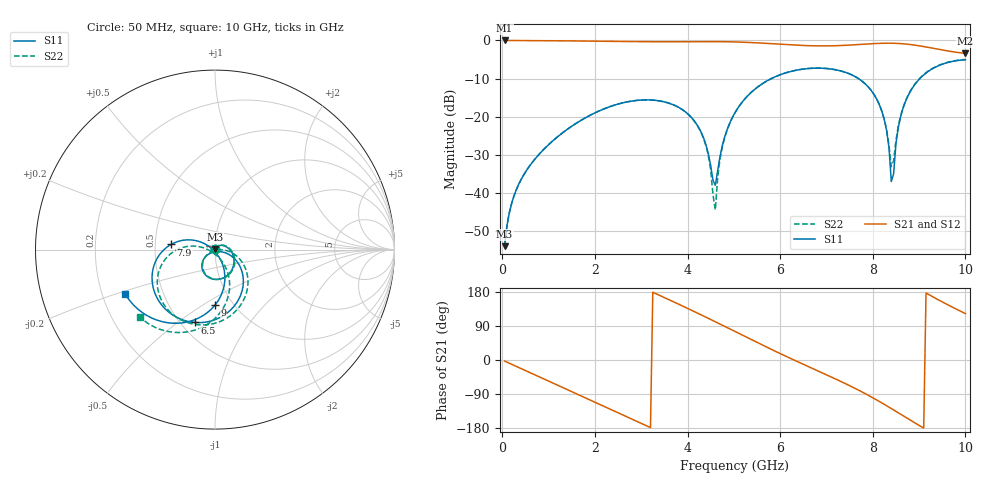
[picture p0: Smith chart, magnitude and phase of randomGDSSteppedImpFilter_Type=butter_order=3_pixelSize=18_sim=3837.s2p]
! freq	dB(S11)	phase(S11)	dB(S12)	phase(S12)
!  dB(S21)	phase(S21)	dB(S22)	phase(S22)
!S-par simulation data
#  GHz  S  DB  R 50
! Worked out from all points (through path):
!   200 points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, 50 MHz to 10 GHz, reference 50 ohm
!   highest |S21| = 0.00 dB at 50 MHz (marker M1); lowest = -3.4 dB at 10 GHz (marker M2)
!   group delay of S21, straight-line fit = 164 ps
!   lowest |S11| = -53.8 dB at 50 MHz (marker M3), VSWR 1.00, Z = 50.1 + j0.194 ohm
!   |S11| at or under -10 dB: start of sweep to 5.808 GHz; 7.691 GHz to 9.016 GHz (1.325 GHz wide, 15.9 % of centre)
!   |S22| runs from -53.9 to -5.0 dB; largest |S21 - S12| = 0
!   S11 on the Smith chart (normalised r, x): 50 MHz: 1.00, +0.00; 6.5 GHz: 0.58, -0.58; 7.9 GHz: 0.61, +0.04; 9 GHz: 0.83, -0.56; 10 GHz: 0.30, -0.21
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0.05  -53.84 72.9  -0.00 -2.8  -0.00 -2.8  -53.85 73.0
0.2  -42.74 74.2  -0.02 -11.2  -0.02 -11.2  -42.73 75.0
0.5  -34.45 60.2  -0.04 -27.8  -0.04 -27.8  -34.45 62.0
1.15  -25.67 24.8  -0.09 -64.0  -0.09 -64.0  -25.65 28.0
1.75  -20.57 -8.5  -0.15 -97.4  -0.15 -97.4  -20.54 -4.8
2.65  -16.21 -58.6  -0.28 -147.7  -0.28 -147.7  -16.19 -54.9
3.4  -15.84 -99.7  -0.35 170.4  -0.35 170.4  -15.83 -96.4
4.25  -23.00 -142.2  -0.32 121.7  -0.32 121.7  -23.08 -142.4
4.45  -29.72 -142.0  -0.31 109.9  -0.31 109.9  -30.22 -149.4
4.6  -37.90 -67.8  -0.31 101.0  -0.31 101.0  -44.36 -47.1
4.75  -27.61 -18.1  -0.33 91.9  -0.33 91.9  -27.92 -1.6
5.05  -18.41 -25.1  -0.40 73.7  -0.40 73.7  -18.43 -15.3
5.8  -10.05 -66.4  -0.84 28.6  -0.84 28.6  -10.03 -58.4
6.5  -7.50 -105.7  -1.33 -11.3  -1.33 -11.3  -7.48 -97.3
6.7  -7.29 -116.7  -1.40 -22.4  -1.40 -22.4  -7.26 -108.1
7.9  -12.15 173.3  -0.92 -92.9  -0.92 -92.9  -12.13 -174.7
8.2  -18.69 154.6  -0.74 -113.5  -0.74 -113.5  -18.65 170.3
8.35  -28.06 151.9  -0.72 -124.4  -0.72 -124.4  -27.44 178.6
8.4  -36.93 171.5  -0.73 -128.0  -0.73 -128.0  -33.04 -150.7
8.6  -20.03 -63.3  -0.83 -142.9  -0.83 -142.9  -19.74 -58.6
9  -10.19 -90.0  -1.40 -172.5  -1.40 -172.5  -10.10 -79.7
10  -5.06 -154.0  -3.38 122.4  -3.38 122.4  -4.99 -138.4
